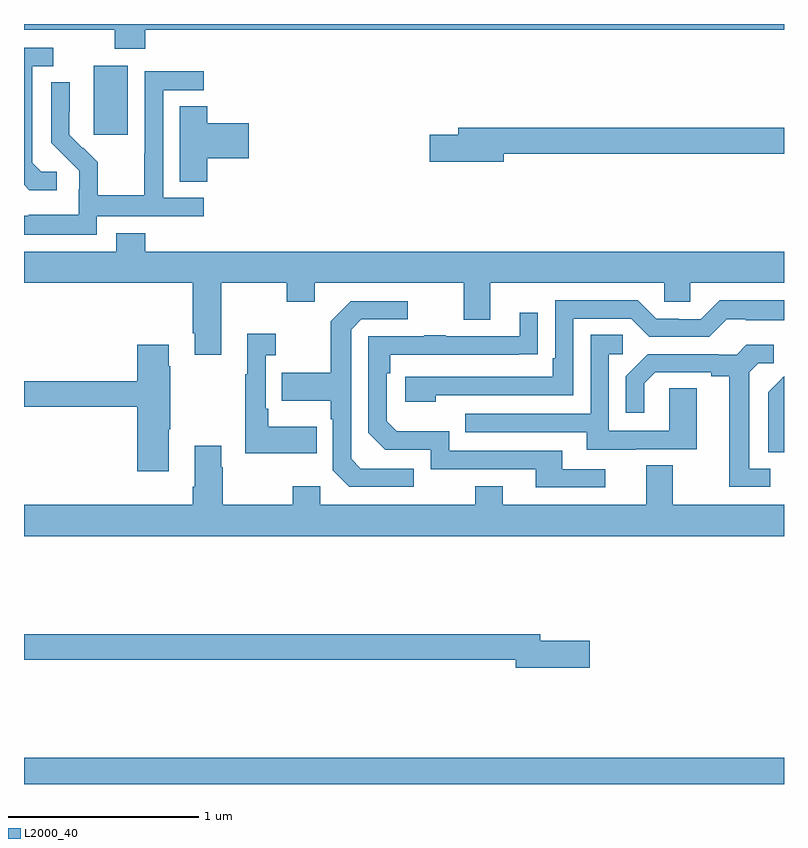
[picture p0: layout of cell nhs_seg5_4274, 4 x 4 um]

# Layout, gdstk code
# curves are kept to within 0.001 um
import gdstk
lib = gdstk.Library(unit=1e-6, precision=1e-09)
def R(c, l, rs):  # rectangles x0, y0, x1, y1
    for r in rs: c.add(gdstk.rectangle(r[:2], r[2:], *l))
def P(c, l, *ps):  # polygons
    for p in ps: c.add(gdstk.Polygon(p, *l))
L2000_40 = (2000, 40)

nhs_seg5_4274 = lib.new_cell('nhs_seg5_4274')
R(nhs_seg5_4274, L2000_40, [(363,844.799,367,844.936), (363.368,848.217,363.547,848.578)])
P(nhs_seg5_4274, L2000_40, [(363.638,848.768),(367,848.768),(367,848.799),(363,848.799),(363,848.768),(363.478,848.768),(363.478,848.669),(363.638,848.669)],
  [(363.172,848.022),(363.09,848.022),(363.043,848.069),(363.043,848.577),(363.154,848.577),(363.154,848.673),(363,848.673),(363,847.953),(363.028,847.925),(363.172,847.925)],
  [(363.384,847.788),(363.946,847.788),(363.946,847.884),(363.732,847.884),(363.732,848.451),(363.946,848.451),(363.946,848.55),(363.636,848.55),(363.636,848.12),(363.634,848.12),(363.634,847.897),(363.389,847.897),(363.389,848.071),(363.312,848.148),(363.309,848.145),(363.239,848.216),(363.24,848.492),(363.144,848.492),(363.144,848.174),(363.29,848.026),(363.29,847.929),(363.288,847.929),(363.288,847.795),(363.025,847.795),(363.025,847.791),(363,847.791),(363,847.691),(363.384,847.691)],
  [(363.965,848.093),(364.183,848.093),(364.183,848.276),(363.965,848.276),(363.965,848.366),(363.821,848.366),(363.821,847.969),(363.965,847.969)],
  [(365.524,848.116),(367,848.116),(367,848.252),(365.285,848.252),(365.285,848.216),(365.136,848.216),(365.136,848.074),(365.524,848.074)],
  [(363.638,847.699),(363.485,847.699),(363.485,847.6),(363,847.6),(363,847.436),(363.887,847.436),(363.887,847.171),(363.899,847.171),(363.899,847.059),(364.039,847.059),(364.039,847.436),(364.384,847.436),(364.384,847.337),(364.531,847.337),(364.531,847.436),(365.315,847.436),(365.315,847.242),(365.455,847.242),(365.455,847.436),(366.369,847.436),(366.369,847.338),(366.507,847.338),(366.507,847.436),(367,847.436),(367,847.6),(363.638,847.6)],
  [(365.168,846.846),(365.892,846.846),(365.892,847.248),(366.195,847.248),(366.291,847.152),(366.606,847.152),(366.699,847.245),(366.799,847.245),(366.799,847.241),(367,847.241),(367,847.345),(366.661,847.345),(366.561,847.245),(366.446,847.245),(366.446,847.248),(366.327,847.248),(366.231,847.344),(365.796,847.344),(365.796,847.039),(365.783,847.039),(365.783,846.942),(365.007,846.942),(365.007,846.812),(365.168,846.812)],
  [(365.05,846.459),(364.773,846.459),(364.722,846.51),(364.722,847.191),(364.776,847.245),(365.02,847.245),(365.02,847.341),(364.719,847.341),(364.614,847.235),(364.614,846.963),(364.357,846.963),(364.357,846.815),(364.614,846.815),(364.614,846.719),(364.626,846.719),(364.626,846.45),(364.713,846.363),(365.05,846.363)],
  [(366.058,846.456),(365.833,846.456),(365.833,846.552),(365.238,846.552),(365.238,846.655),(364.961,846.655),(364.908,846.708),(364.908,846.962),(364.928,846.962),(364.928,847.059),(365.705,847.06),(365.705,847.279),(365.609,847.279),(365.609,847.155),(365.219,847.155),(365.219,847.16),(365.107,847.16),(365.107,847.155),(364.812,847.155),(364.812,846.648),(364.902,846.558),(365.142,846.558),(365.142,846.456),(365.693,846.456),(365.693,846.36),(366.058,846.36)],
  [(364.541,846.679),(364.285,846.679),(364.285,846.775),(364.272,846.775),(364.272,847.055),(364.324,847.055),(364.324,847.168),(364.175,847.168),(364.175,846.955),(364.164,846.955),(364.164,846.539),(364.541,846.539)],
  [(366.217,846.561),(366.541,846.561),(366.541,846.881),(366.396,846.881),(366.396,846.657),(366.078,846.657),(366.078,847.062),(366.151,847.062),(366.151,847.163),(365.982,847.163),(365.982,846.747),(365.323,846.747),(365.323,846.651),(365.963,846.651),(365.963,846.557),(366.217,846.557)],
  [(366.928,846.459),(366.817,846.459),(366.817,846.967),(366.864,847.014),(366.946,847.014),(366.946,847.111),(366.802,847.111),(366.75,847.059),(366.656,847.059),(366.656,847.062),(366.284,847.062),(366.168,846.946),(366.168,846.753),(366.265,846.753),(366.265,846.909),(366.322,846.966),(366.617,846.966),(366.617,846.944),(366.713,846.944),(366.713,846.363),(366.928,846.363)],
  [(363.763,846.667),(363.771,846.667),(363.771,846.998),(363.763,846.998),(363.763,847.111),(363.596,847.111),(363.596,846.92),(363,846.92),(363,846.784),(363.596,846.784),(363.596,846.444),(363.763,846.444)],
  [(367,846.946),(366.99,846.936),(366.991,846.935),(366.918,846.862),(366.918,846.544),(367,846.544)],
  [(367,846.268),(366.415,846.268),(366.415,846.476),(366.275,846.476),(366.275,846.268),(365.521,846.268),(365.521,846.367),(365.374,846.367),(365.374,846.268),(364.56,846.268),(364.56,846.367),(364.414,846.367),(364.414,846.268),(364.047,846.268),(364.047,846.467),(364.039,846.467),(364.039,846.58),(363.899,846.58),(363.899,846.364),(363.887,846.364),(363.887,846.268),(363,846.268),(363,846.104),(367,846.104)],
  [(365.977,845.552),(365.716,845.552),(365.716,845.588),(363,845.588),(363,845.452),(365.588,845.452),(365.588,845.41),(365.977,845.41)])

lib.write_gds('nhs_seg5_4274.gds')
